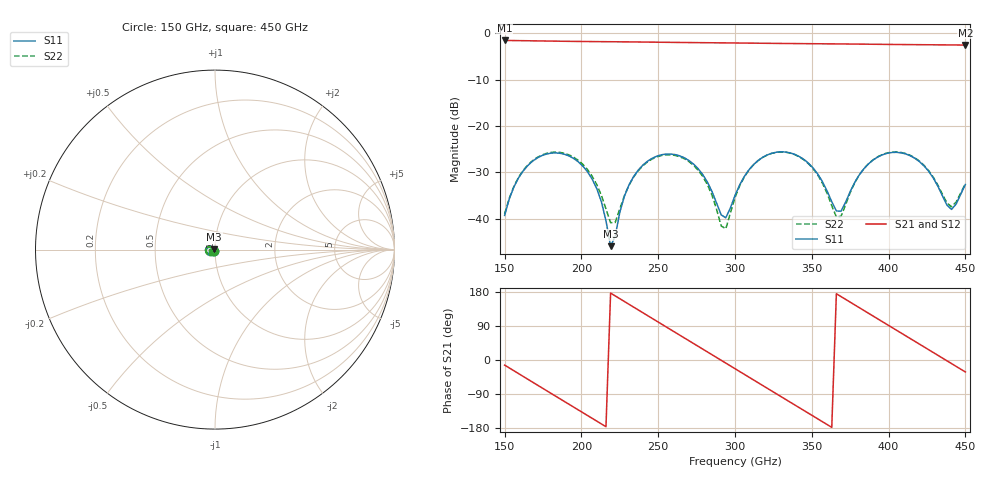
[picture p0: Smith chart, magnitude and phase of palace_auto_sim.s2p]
#  GHZ S DB R 50
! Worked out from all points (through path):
!   101 points, 150 GHz to 450 GHz, reference 50 ohm
!   highest |S21| = -1.59 dB at 150 GHz (marker M1); lowest = -2.6 dB at 450 GHz (marker M2)
!   group delay of S21, straight-line fit = 6.83 ps
!   lowest |S11| = -45.9 dB at 219 GHz (marker M3), VSWR 1.01, Z = 49.5 + j0.0637 ohm
!   |S11| at or under -10 dB: start of sweep to end of sweep
!   |S22| runs from -42.1 to -25.6 dB; largest |S21 - S12| = 9.4e-14
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150  -39.24 -117.1  -1.59 -13.4  -1.59 -13.4  -38.92 -119.6
162  -29.70 -119.8  -1.64 -43.1  -1.64 -43.1  -29.60 -119.6
177  -26.05 -151.5  -1.71 -80.1  -1.71 -80.1  -25.92 -150.1
189  -26.08 -178.8  -1.77 -109.6  -1.77 -109.6  -25.88 -176.5
201  -28.65 154.7  -1.81 -139.1  -1.81 -139.1  -28.28 158.9
213  -36.28 136.8  -1.85 -168.7  -1.85 -168.7  -34.93 146.6
219  -45.86 172.7  -1.86 176.6  -1.86 176.6  -40.81 174.0
222  -43.72 -128.7  -1.87 169.2  -1.87 169.2  -40.76 -152.1
234  -30.87 -119.6  -1.91 139.6  -1.91 139.6  -30.99 -128.2
252  -26.20 -156.2  -1.98 95.2  -1.98 95.2  -26.35 -160.9
276  -29.19 156.4  -2.06 36.2  -2.06 36.2  -29.50 151.2
294  -39.75 -160.7  -2.11 -8.1  -2.11 -8.1  -42.12 -154.2
300  -34.96 -129.8  -2.13 -22.9  -2.13 -22.9  -35.41 -122.4
312  -28.33 -137.8  -2.17 -52.4  -2.17 -52.4  -28.37 -135.0
327  -25.64 -166.2  -2.22 -89.3  -2.22 -89.3  -25.66 -165.1
351  -29.09 149.8  -2.29 -148.3  -2.29 -148.3  -29.25 149.2
369  -38.33 -164.7  -2.34 167.4  -2.34 167.4  -39.44 -158.7
384  -29.16 -142.2  -2.39 130.5  -2.39 130.5  -29.14 -138.0
402  -25.70 -173.3  -2.45 86.3  -2.45 86.3  -25.63 -170.2
423  -28.56 149.5  -2.51 34.7  -2.51 34.7  -28.44 152.6
441  -37.95 -177.3  -2.55 -9.5  -2.55 -9.5  -37.38 -175.5
450  -32.58 -141.7  -2.58 -31.6  -2.58 -31.6  -32.38 -141.0
